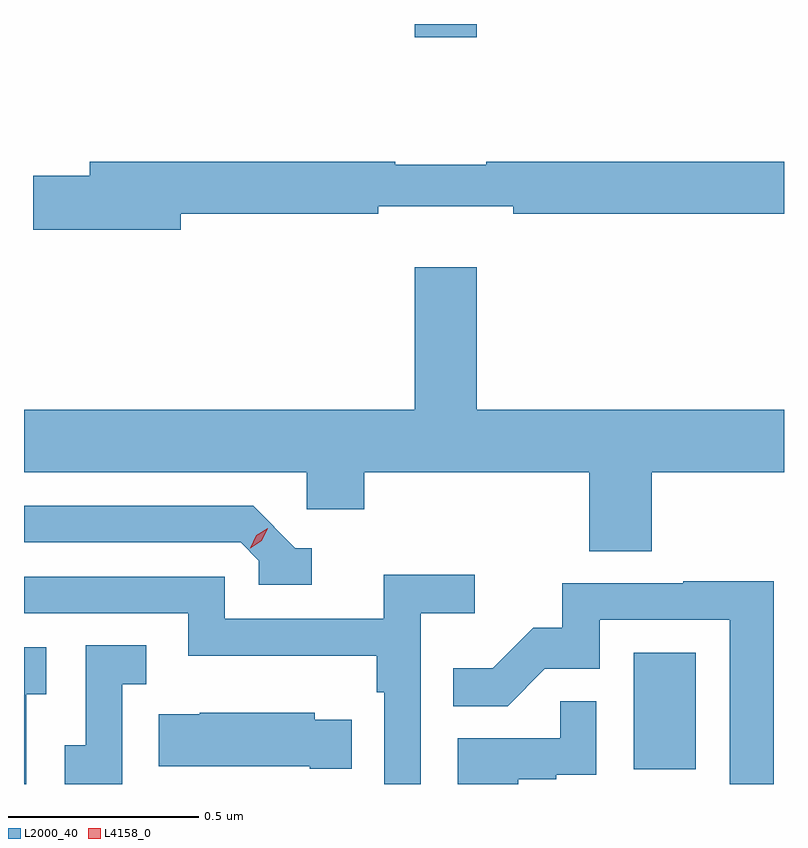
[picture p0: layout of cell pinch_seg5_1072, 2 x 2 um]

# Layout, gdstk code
import gdstk
lib = gdstk.Library(unit=1e-6, precision=1e-09)
def R(c, l, rs):  # rectangles x0, y0, x1, y1
    for r in rs: c.add(gdstk.rectangle(r[:2], r[2:], *l))
def P(c, l, *ps):  # polygons
    for p in ps: c.add(gdstk.Polygon(p, *l))
L2000_40 = (2000, 40)
L4158_0 = (4158, 0)

pinch_seg5_1072 = lib.new_cell('pinch_seg5_1072')
R(pinch_seg5_1072, L2000_40, [(884.864,854.646,885.028,854.953), (884.288,856.572,884.452,856.607)])
P(pinch_seg5_1072, L2000_40, [(883.672,856.108),(884.192,856.108),(884.192,856.127),(884.548,856.127),(884.548,856.108),(885.26,856.108),(885.26,856.244),(884.477,856.244),(884.477,856.237),(884.237,856.237),(884.237,856.244),(883.433,856.244),(883.433,856.208),(883.284,856.208),(883.284,856.066),(883.672,856.066)],
  [(884.912,855.428),(885.26,855.428),(885.26,855.592),(884.452,855.592),(884.452,855.967),(884.288,855.967),(884.288,855.592),(883.26,855.592),(883.26,855.428),(884.004,855.428),(884.004,855.33),(884.156,855.33),(884.156,855.428),(884.747,855.428),(884.747,855.22),(884.912,855.22)],
  [(884.017,855.228),(883.974,855.228),(883.863,855.339),(883.26,855.339),(883.26,855.243),(883.83,855.243),(883.878,855.195),(883.878,855.132),(884.017,855.132)],
  [(884.304,855.056),(884.446,855.056),(884.446,855.158),(884.207,855.158),(884.207,855.042),(883.788,855.042),(883.788,855.153),(883.26,855.153),(883.26,855.057),(883.692,855.057),(883.692,854.945),(884.188,854.945),(884.188,854.849),(884.208,854.849),(884.208,854.607),(884.304,854.607)],
  [(885.233,855.14),(884.995,855.14),(884.995,855.135),(884.677,855.135),(884.677,855.018),(884.6,855.018),(884.493,854.911),(884.389,854.911),(884.389,854.812),(884.533,854.812),(884.631,854.91),(884.775,854.91),(884.775,855.039),(885.117,855.039),(885.117,854.607),(885.233,854.607)],
  [(883.518,854.869),(883.582,854.869),(883.582,854.972),(883.422,854.972),(883.422,854.709),(883.367,854.709),(883.367,854.607),(883.518,854.607)],
  [(883.266,854.843),(883.318,854.843),(883.318,854.967),(883.26,854.967),(883.26,854.607),(883.266,854.607)],
  [(884.56,854.619),(884.66,854.619),(884.66,854.631),(884.766,854.631),(884.766,854.825),(884.671,854.825),(884.671,854.727),(884.402,854.727),(884.402,854.607),(884.56,854.607)],
  [(884.123,854.776),(884.025,854.776),(884.025,854.794),(883.723,854.794),(883.723,854.791),(883.615,854.791),(883.615,854.654),(884.012,854.654),(884.012,854.647),(884.123,854.647)])
P(pinch_seg5_1072, L4158_0, [(883.855,855.228),(883.855,855.228),(883.871,855.261),(883.902,855.28),(883.902,855.28),(883.902,855.28),(883.886,855.247),(883.856,855.228)])

lib.write_gds('pinch_seg5_1072.gds')
